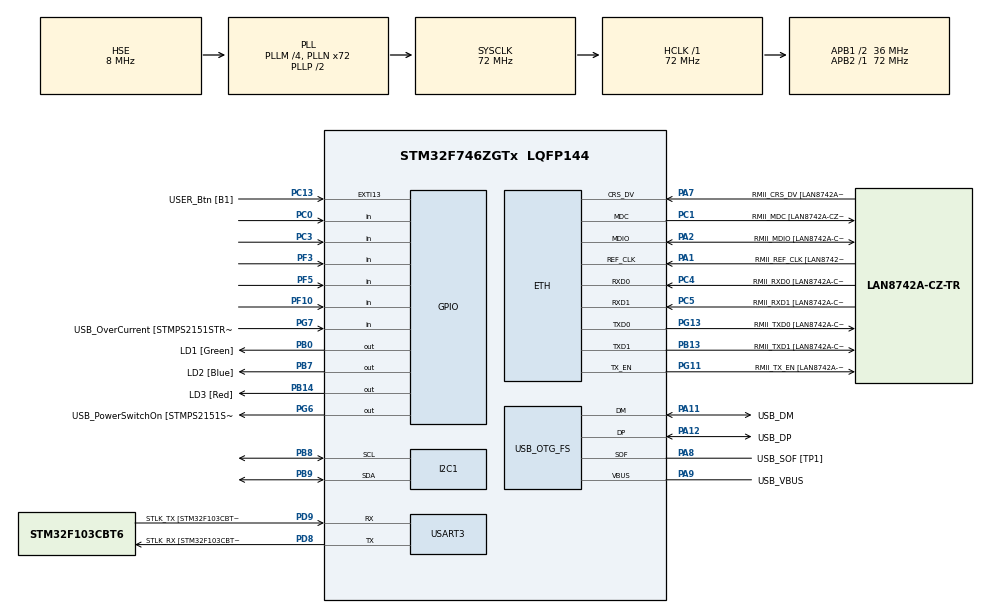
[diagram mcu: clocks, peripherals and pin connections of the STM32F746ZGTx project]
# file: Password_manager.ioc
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ETH.MediaInterface=HAL_ETH_RMII_MODE
ETH.PHY_Name=LAN8742A_PHY_ADDRESS
ETH.PHY_Value=0
ETH.PhyAddress=0
I2C1.Timing=0x00808CD2
Mcu.Family=STM32F7
Mcu.Name=STM32F746ZGTx
Mcu.Package=LQFP144
NVIC.OTG_FS_IRQn=true\:0\:0\:false\:false\:true\:false\:true\:true
NVIC.PriorityGroup=NVIC_PRIORITYGROUP_4
PA1.GPIO_Label=RMII_REF_CLK [LAN8742A-CZ-TR_REFCLK0]
PA1.Mode=RMII
PA1.Signal=ETH_REF_CLK
PA10.GPIO_Label=USB_ID
PA10.Signal=USB_OTG_FS_ID
PA11.GPIO_Label=USB_DM
PA11.Mode=Device_Only
PA11.Signal=USB_OTG_FS_DM
PA12.GPIO_Label=USB_DP
PA12.Mode=Device_Only
PA12.Signal=USB_OTG_FS_DP
PA13.GPIO_Label=TMS
PA13.Mode=Serial_Wire
PA13.Signal=SYS_JTMS-SWDIO
PA14.GPIO_Label=TCK
PA14.Mode=Serial_Wire
PA14.Signal=SYS_JTCK-SWCLK
PA2.GPIO_Label=RMII_MDIO [LAN8742A-CZ-TR_MDIO]
PA2.Mode=RMII
PA2.Signal=ETH_MDIO
PA7.GPIO_Label=RMII_CRS_DV [LAN8742A-CZ-TR_CRS_DV]
PA7.Mode=RMII
PA7.Signal=ETH_CRS_DV
PA8.GPIO_Label=USB_SOF [TP1]
PA8.Mode=Activate_SOF_FS
PA8.Signal=USB_OTG_FS_SOF
PA9.GPIO_Label=USB_VBUS
PA9.Mode=Activate_VBUS
PA9.Signal=USB_OTG_FS_VBUS
PB0.GPIO_Label=LD1 [Green]
PB0.Signal=GPIO_Output
PB13.GPIO_Label=RMII_TXD1 [LAN8742A-CZ-TR_TXD1]
PB13.Mode=RMII
PB13.Signal=ETH_TXD1
PB14.GPIO_Label=LD3 [Red]
PB14.Signal=GPIO_Output
PB3.GPIO_Label=SW0
PB3.Signal=SYS_JTDO-SWO
PB7.GPIO_Label=LD2 [Blue]
PB7.Signal=GPIO_Output
PB8.Mode=I2C
PB8.Signal=I2C1_SCL
PB9.Mode=I2C
PB9.Signal=I2C1_SDA
PC0.GPIO_PuPd=GPIO_PULLUP
PC0.Signal=GPIO_Input
PC1.GPIO_Label=RMII_MDC [LAN8742A-CZ-TR_MDC]
PC1.Mode=RMII
PC1.Signal=ETH_MDC
PC13.GPIO_Label=USER_Btn [B1]
PC13.Signal=GPXTI13
PC14/OSC32_IN.Mode=LSE-External-Oscillator
PC14/OSC32_IN.Signal=RCC_OSC32_IN
PC15/OSC32_OUT.Mode=LSE-External-Oscillator
PC15/OSC32_OUT.Signal=RCC_OSC32_OUT
PC3.GPIO_PuPd=GPIO_PULLUP
PC3.Signal=GPIO_Input
PC4.GPIO_Label=RMII_RXD0 [LAN8742A-CZ-TR_RXD0]
PC4.Mode=RMII
PC4.Signal=ETH_RXD0
PC5.GPIO_Label=RMII_RXD1 [LAN8742A-CZ-TR_RXD1]
PC5.Mode=RMII
PC5.Signal=ETH_RXD1
PD8.GPIO_Label=STLK_RX [STM32F103CBT6_PA3]
PD8.GPIO_PuPd=GPIO_PULLUP
PD8.Mode=Asynchronous
PD8.Signal=USART3_TX
PD9.GPIO_Label=STLK_TX [STM32F103CBT6_PA2]
PD9.GPIO_PuPd=GPIO_PULLUP
PD9.Mode=Asynchronous
PD9.Signal=USART3_RX
PF10.GPIO_PuPd=GPIO_PULLUP
PF10.Signal=GPIO_Input
PF3.GPIO_PuPd=GPIO_PULLUP
PF3.Signal=GPIO_Input
PF5.GPIO_PuPd=GPIO_PULLUP
PF5.Signal=GPIO_Input
PG11.GPIO_Label=RMII_TX_EN [LAN8742A-CZ-TR_TXEN]
PG11.Mode=RMII
PG11.Signal=ETH_TX_EN
PG13.GPIO_Label=RMII_TXD0 [LAN8742A-CZ-TR_TXD0]
PG13.Mode=RMII
PG13.Signal=ETH_TXD0
PG6.GPIO_Label=USB_PowerSwitchOn [STMPS2151STR_EN]
PG6.Signal=GPIO_Output
PG7.GPIO_Label=USB_OverCurrent [STMPS2151STR_FAULT]
PG7.Signal=GPIO_Input
PH0/OSC_IN.GPIO_Label=MCO [STM32F103CBT6_PA8]
PH0/OSC_IN.Mode=HSE-External-Clock-Source
PH0/OSC_IN.Signal=RCC_OSC_IN
PH1/OSC_OUT.Mode=HSE-External-Clock-Source
PH1/OSC_OUT.Signal=RCC_OSC_OUT
ProjectManager.HeapSize=0x200
ProjectManager.StackSize=0x400
ProjectManager.TargetToolchain=STM32CubeIDE
RCC.48MHZClocksFreq_Value=24000000
RCC.AHBFreq_Value=72000000
RCC.APB1CLKDivider=RCC_HCLK_DIV2
RCC.APB1Freq_Value=36000000
RCC.APB1TimFreq_Value=72000000
RCC.APB2Freq_Value=72000000
RCC.APB2TimFreq_Value=72000000
RCC.CortexFreq_Value=72000000
RCC.HCLKFreq_Value=72000000
RCC.HSE_VALUE=8000000
RCC.HSI_VALUE=16000000
RCC.PLLM=4
RCC.PLLMUL=RCC_PLL_MUL9
RCC.PLLN=72
RCC.PLLQ=3
RCC.PRESCALERUSB=RCC_USBCLKSOURCE_PLL_DIV1_5
RCC.SYSCLKFreq_VALUE=72000000
RCC.SYSCLKSource=RCC_SYSCLKSOURCE_PLLCLK
RCC.SYSCLKSourceVirtual=RCC_SYSCLKSOURCE_PLLCLK
RCC.USBFreq_Value=48000000
RCC.VCOOutputFreq_Value=144000000
USART3.VirtualMode-Asynchronous=VM_ASYNC
USB_DEVICE.CLASS_NAME_FS=HID
USB_DEVICE.PID_HID_FS=22317
USB_DEVICE.VirtualMode-HID_FS=Hid
USB_DEVICE.VirtualModeFS=Hid_FS
USB_OTG_FS.VirtualMode=Device_Only
VP_USB_DEVICE_VS_USB_DEVICE_HID_FS.Mode=HID_FS
board=NUCLEO-F746ZG

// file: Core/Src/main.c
/* USER CODE BEGIN Header */
/**
  ******************************************************************************
  * @file           : main.c
  * @brief          : Main program body
  ******************************************************************************
  * @attention
  *
  * Copyright (c) 2026 STMicroelectronics.
  * All rights reserved.
  *
  * This software is licensed under terms that can be found in the LICENSE file
  * in the root directory of this software component.
  * If no LICENSE file comes with this software, it is provided AS-IS.
  *
  ******************************************************************************
  */
/* USER CODE END Header */
#include "main.h"
#include "string.h"
#include "usb_device.h"

/* USER CODE BEGIN Includes */
#include "i2c_lcd.h"
#include "usbd_hid.h"
extern USBD_HandleTypeDef hUsbDeviceFS;

#define EEPROM_ADDR 0xA0

#define BTN_UP_PORT     GPIOC
#define BTN_UP_PIN      GPIO_PIN_0

#define BTN_DOWN_PORT   GPIOC
#define BTN_DOWN_PIN    GPIO_PIN_3

#define BTN_OK_PORT     GPIOF
#define BTN_OK_PIN      GPIO_PIN_3

#define BTN_RIGHT_PORT  GPIOF
#define BTN_RIGHT_PIN   GPIO_PIN_5

#define BTN_LEFT_PORT   GPIOF
#define BTN_LEFT_PIN    GPIO_PIN_10
/* USER CODE END Includes */

#if defined ( __ICCARM__ ) /*!< IAR Compiler */
#pragma location=0x2004c000
ETH_DMADescTypeDef  DMARxDscrTab[ETH_RX_DESC_CNT]; /* Ethernet Rx DMA Descriptors */
#pragma location=0x2004c0a0
ETH_DMADescTypeDef  DMATxDscrTab[ETH_TX_DESC_CNT]; /* Ethernet Tx DMA Descriptors */

#elif defined ( __CC_ARM )  /* MDK ARM Compiler */

__attribute__((at(0x2004c000))) ETH_DMADescTypeDef  DMARxDscrTab[ETH_RX_DESC_CNT]; /* Ethernet Rx DMA Descriptors */
__attribute__((at(0x2004c0a0))) ETH_DMADescTypeDef  DMATxDscrTab[ETH_TX_DESC_CNT]; /* Ethernet Tx DMA Descriptors */

#elif defined ( __GNUC__ ) /* GNU Compiler */
ETH_DMADescTypeDef DMARxDscrTab[ETH_RX_DESC_CNT] __attribute__((section(".RxDecripSection"))); /* Ethernet Rx DMA Descriptors */
ETH_DMADescTypeDef DMATxDscrTab[ETH_TX_DESC_CNT] __attribute__((section(".TxDecripSection")));   /* Ethernet Tx DMA Descriptors */

#endif

ETH_TxPacketConfig TxConfig;

ETH_HandleTypeDef heth;

I2C_HandleTypeDef hi2c1;

UART_HandleTypeDef huart3;

void SystemClock_Config(void);
static void MX_GPIO_Init(void);
static void MX_ETH_Init(void);
static void MX_USART3_UART_Init(void);
static void MX_I2C1_Init(void);

/* USER CODE BEGIN 0 */
uint8_t app_state = 0;
char entered_pin[5] = {0};
uint8_t pin_index = 0;
char secret_pin[] = "1111";

char* account_names[] = {"Telegram", "Gmail", "Github", "VK.com", "Mail.ru"};
char* passwords[] = {"Admin123!", "KroliK9", "Uyuo12yuy", "_=1#0)==", "qwerty"};
uint8_t accounts_number = 5;
uint8_t menu_row = 0;
uint8_t menu_index = 0;

typedef struct {
	uint8_t state;
	uint8_t last_tick;
} Button_TypeDef;

Button_TypeDef btn_up = {0, 0};
Button_TypeDef btn_down = {0, 0};
Button_TypeDef btn_left = {0, 0};
Button_TypeDef btn_right = {0, 0};
Button_TypeDef btn_ok = {0, 0};

uint8_t cur_row = 0;
uint8_t cur_col = 0;

// Таблица соответствий ASCII -> USB HID Scancode (US QWERTY)
const uint8_t asciiMap[128] = {
    0x00, 0x00, 0x00, 0x00, 0x00, 0x00, 0x00, 0x00, // 0-7
    0x2A, 0x2B, 0x28, 0x00, 0x00, 0x00, 0x00, 0x00, // 8-15 (Backspace, Tab, Enter)
    0x00, 0x00, 0x00, 0x00, 0x00, 0x00, 0x00, 0x00, // 16-23
    0x00, 0x00, 0x00, 0x00, 0x00, 0x00, 0x00, 0x00, // 24-31
    0x2C,          // 32: Пробел
    0x1E | 0x80,   // 33: ! (Shift + 1)
    0x34 | 0x80,   // 34: " (Shift + ')
    0x20 | 0x80,   // 35: # (Shift + 3)
    0x21 | 0x80,   // 36: $ (Shift + 4)
    0x22 | 0x80,   // 37: % (Shift + 5)
    0x24 | 0x80,   // 38: & (Shift + 7)
    0x34,          // 39: '
    0x26 | 0x80,   // 40: ( (Shift + 9)
    0x27 | 0x80,   // 41: ) (Shift + 0)
    0x25 | 0x80,   // 42: * (Shift + 8)
    0x2E | 0x80,   // 43: + (Shift + =)
    0x36,          // 44: ,
    0x2D,          // 45: -
    0x37,          // 46: .
    0x38,          // 47: /
    0x27, 0x1E, 0x1F, 0x20, 0x21, 0x22, 0x23, 0x24, 0x25, 0x26, // 48-57: Цифры 0-9
    0x33 | 0x80,   // 58: : (Shift + ;)
    0x33,          // 59: ;
    0x36 | 0x80,   // 60: < (Shift + ,)
    0x2E,          // 61: =
    0x37 | 0x80,   // 62: > (Shift + .)
    0x38 | 0x80,   // 63: ? (Shift + /)
    0x1F | 0x80,   // 64: @ (Shift + 2)
    0x04|0x80, 0x05|0x80, 0x06|0x80, 0x07|0x80, 0x08|0x80, 0x09|0x80, 0x0A|0x80, 0x0B|0x80, // 65-72: A-H
    0x0C|0x80, 0x0D|0x80, 0x0E|0x80, 0x0F|0x80, 0x10|0x80, 0x11|0x80, 0x12|0x80, 0x13|0x80, // 73-80: I-P
    0x14|0x80, 0x15|0x80, 0x16|0x80, 0x17|0x80, 0x18|0x80, 0x19|0x80, 0x1A|0x80, 0x1B|0x80, // 81-88: Q-X
    0x1C|0x80, 0x1D|0x80, // 89-90: Y-Z
    0x2F,          // 91: [
    0x31,          // 92: Обратный слэш
    0x30,          // 93: ]
    0x23 | 0x80,   // 94: ^ (Shift + 6)
    0x2D | 0x80,   // 95: _ (Shift + -)
    0x35,          // 96: `
    0x04, 0x05, 0x06, 0x07, 0x08, 0x09, 0x0A, 0x0B, // 97-104: a-h
    0x0C, 0x0D, 0x0E, 0x0F, 0x10, 0x11, 0x12, 0x13, // 105-112: i-p
    0x14, 0x15, 0x16, 0x17, 0x18, 0x19, 0x1A, 0x1B, // 113-120: q-x
    0x1C, 0x1D,    // 121-122: y-z
    0x2F | 0x80,   // 123: {
    0x31 | 0x80,   // 124: |
    0x30 | 0x80,   // 125: }
    0x35 | 0x80,   // 126: ~
    0x00           // 127: DEL
};

void Send_Char(char c) {
	if (c < 0 || c > 127)
		return;

	uint8_t keycode = asciiMap[(uint8_t)c];
	if (keycode == 0)
		return;

	uint8_t report[8] = {0};

	// Если есть флаг Shift
	if (keycode & 0x80) {
		report[0] = 0x2;
		report[2] = keycode & 0x7F;
	}

	else
		report [2] = keycode;

	USBD_HID_SendReport(&hUsbDeviceFS, report, 8);
	HAL_Delay(25);

	uint8_t empty[8] = {0};
	USBD_HID_SendReport(&hUsbDeviceFS, empty, 8);
	HAL_Delay(25);
}

void Send_Str(const char* str) {
	while(*str)
		Send_Char(*str++);
}

void Draw_Menu() {
	lcd_clear();
	lcd_put_cur(0, 0);
	lcd_send_string("Choose password:");

	for (int i = 0; i < 3; i++) {
		int current_account = menu_row + i;

		if (current_account >= accounts_number)
			break;

		lcd_put_cur(i + 1, 0);
		if (current_account == menu_index)
			lcd_send_string("> ");
		else
			lcd_send_string("  ");

		lcd_send_string(account_names[current_account]);
	}
}

void EEPROM_Write(uint16_t mem_address, uint8_t *data, uint16_t length) {
	HAL_I2C_Mem_Write(&hi2c1, EEPROM_ADDR, mem_address, I2C_MEMADD_SIZE_16BIT, data, length, 1000);
	HAL_Delay(5);
}

void EEPROM_Read(uint16_t mem_address, uint8_t *data, uint16_t length) {
	HAL_I2C_Mem_Read(&hi2c1, EEPROM_ADDR, mem_address, I2C_MEMADD_SIZE_16BIT, data, length, 1000);
}
/* USER CODE END 0 */

int main(void)
{

  /* MCU Configuration--------------------------------------------------------*/

  /* Reset of all peripherals, Initializes the Flash interface and the Systick. */
  HAL_Init();

  /* Configure the system clock */
  SystemClock_Config();

  /* Initialize all configured peripherals */
  MX_GPIO_Init();
  MX_ETH_Init();
  MX_USART3_UART_Init();
  MX_USB_DEVICE_Init();
  MX_I2C1_Init();
  /* USER CODE BEGIN 2 */
  HAL_Delay(100);

  lcd_init();
  lcd_put_cur(0, 2);
  lcd_send_string("Password Manager");

  lcd_put_cur(2, 2);
  lcd_send_string("Press OK to enter");
  lcd_put_cur(3, 6);
  lcd_send_string("PIN-code");

  /* USER CODE END 2 */

  /* Infinite loop */
  while (1)
  {

    /* USER CODE BEGIN 3 */
	if (HAL_GPIO_ReadPin(BTN_OK_PORT, BTN_OK_PIN) == GPIO_PIN_RESET) {
		if (app_state == 0) {
			app_state = 1;
			pin_index = 0;
			memset(entered_pin, 0, sizeof(entered_pin));

			lcd_clear();
			lcd_put_cur(0, 6);
			lcd_send_string("1  2  3");
			lcd_put_cur(1, 6);
			lcd_send_string("4  5  6");
			lcd_put_cur(2, 6);
			lcd_send_string("7  8  9");
			lcd_put_cur(3, 9);
			lcd_send_string("0");

			lcd_send_cmd(0x0F);
			cur_row = 0;
			cur_col = 6;
			lcd_put_cur(cur_row, cur_col);

		} else if (app_state == 1) {
			char selected_digit = 0;

		    if (cur_row == 0 && cur_col == 6)  selected_digit = '1';
		    else if (cur_row == 0 && cur_col == 9)  selected_digit = '2';
		    else if (cur_row == 0 && cur_col == 12) selected_digit = '3';
		    else if (cur_row == 1 && cur_col == 6)  selected_digit = '4';
		    else if (cur_row == 1 && cur_col == 9)  selected_digit = '5';
		    else if (cur_row == 1 && cur_col == 12) selected_digit = '6';
		    else if (cur_row == 2 && cur_col == 6)  selected_digit = '7';
		    else if (cur_row == 2 && cur_col == 9)  selected_digit = '8';
		    else if (cur_row == 2 && cur_col == 12) selected_digit = '9';
		    else if (cur_row == 3 && cur_col == 9)  selected_digit = '0';

		    if (selected_digit != 0) {
		    	entered_pin[pin_index] = selected_digit;
		    	lcd_put_cur(3, pin_index);
		    	lcd_send_string("*");
		    	lcd_put_cur(cur_row, cur_col);

		    	pin_index++;

		    	if (pin_index == 4) {
		    		lcd_send_cmd(0x0C);
		    		lcd_clear();

		    		if (strcmp(entered_pin, secret_pin) == 0) {
		    			lcd_put_cur(1, 3);
		    		    lcd_send_string("ACCESS GRANTED");

		    		    HAL_Delay(1000);

		    		    app_state = 2;

		    		    menu_index = 0;
		    		    menu_row = 0;

		    		    Draw_Menu();

		    		} else {
		    			lcd_put_cur(1, 3);
		    		    lcd_send_string("ACCESS DENIED");
		    		    HAL_Delay(2000);

		    		    app_state = 0;
		    		    lcd_clear();

		    		    lcd_put_cur(0, 2);
		    		    lcd_send_string("Password Manager");
		    		    lcd_put_cur(2, 2);
		    		    lcd_send_string("Press OK to enter");
		    		    lcd_put_cur(3, 6);
		    		    lcd_send_string("PIN-code");
		    		}
		    	}
		    }

		} else if (app_state == 2) {
			lcd_clear();
			lcd_put_cur(1, 1);
			lcd_send_string("Sending password..");

			char password_buffer[64] = {0};

			uint16_t address_target = menu_index * 64;
			EEPROM_Read(address_target, (uint8_t*)password_buffer, 64);

			Send_Str(password_buffer);

			memset(password_buffer, 0, sizeof(password_buffer));

			HAL_Delay(1000);

			Draw_Menu();

		}

		HAL_Delay(200);
	}

	else if (HAL_GPIO_ReadPin(BTN_UP_PORT, BTN_UP_PIN) == GPIO_PIN_RESET) {
		if (app_state == 1 && cur_row > 0) {
			cur_row--;
			lcd_put_cur(cur_row, cur_col);
		} else if (app_state == 2) {
			if (menu_index > 0)
				menu_index--;
			if (menu_index < menu_row)
				menu_row--;
			Draw_Menu();
		}

		HAL_Delay(200);

	} else if (HAL_GPIO_ReadPin(BTN_DOWN_PORT, BTN_DOWN_PIN) == GPIO_PIN_RESET) {
		if (app_state == 1 && cur_row < 3) {
			cur_row++;
			if (cur_row == 3)
				cur_col = 9;
			lcd_put_cur(cur_row, cur_col);
		} else if (app_state == 2) {
			if (menu_index < accounts_number - 1)
				menu_index++;
			if (menu_index >= menu_row + 3)
				menu_row++;
			Draw_Menu();
		}

		HAL_Delay(200);

	} else if (HAL_GPIO_ReadPin(BTN_RIGHT_PORT, BTN_RIGHT_PIN) == GPIO_PIN_RESET) {
		if (app_state == 1 && cur_col < 12 && cur_row != 3) {
			cur_col+= 3;
			lcd_put_cur(cur_row, cur_col);
		}

		HAL_Delay(200);

	} else if (HAL_GPIO_ReadPin(BTN_LEFT_PORT, BTN_LEFT_PIN) == GPIO_PIN_RESET) {
		if (app_state == 1 && cur_col > 6 && cur_row != 3) {
			cur_col-= 3;
			lcd_put_cur(cur_row, cur_col);
		}

		HAL_Delay(200);

	}
  }

  /* USER CODE END 3 */
}

void SystemClock_Config(void)
{
  RCC_OscInitTypeDef RCC_OscInitStruct = {0};
  RCC_ClkInitTypeDef RCC_ClkInitStruct = {0};

  /** Configure LSE Drive Capability
  */
  HAL_PWR_EnableBkUpAccess();

  /** Configure the main internal regulator output voltage
  */
  __HAL_RCC_PWR_CLK_ENABLE();
  __HAL_PWR_VOLTAGESCALING_CONFIG(PWR_REGULATOR_VOLTAGE_SCALE3);

  /** Initializes the RCC Oscillators according to the specified parameters
  * in the RCC_OscInitTypeDef structure.
  */
  RCC_OscInitStruct.OscillatorType = RCC_OSCILLATORTYPE_HSE;
  RCC_OscInitStruct.HSEState = RCC_HSE_BYPASS;
  RCC_OscInitStruct.PLL.PLLState = RCC_PLL_ON;
  RCC_OscInitStruct.PLL.PLLSource = RCC_PLLSOURCE_HSE;
  RCC_OscInitStruct.PLL.PLLM = 4;
  RCC_OscInitStruct.PLL.PLLN = 72;
  RCC_OscInitStruct.PLL.PLLP = RCC_PLLP_DIV2;
  RCC_OscInitStruct.PLL.PLLQ = 3;
  if (HAL_RCC_OscConfig(&RCC_OscInitStruct) != HAL_OK)
  {
    Error_Handler();
  }

  /** Initializes the CPU, AHB and APB buses clocks
  */
  RCC_ClkInitStruct.ClockType = RCC_CLOCKTYPE_HCLK|RCC_CLOCKTYPE_SYSCLK
                              |RCC_CLOCKTYPE_PCLK1|RCC_CLOCKTYPE_PCLK2;
  RCC_ClkInitStruct.SYSCLKSource = RCC_SYSCLKSOURCE_PLLCLK;
  RCC_ClkInitStruct.AHBCLKDivider = RCC_SYSCLK_DIV1;
  RCC_ClkInitStruct.APB1CLKDivider = RCC_HCLK_DIV2;
  RCC_ClkInitStruct.APB2CLKDivider = RCC_HCLK_DIV1;

  if (HAL_RCC_ClockConfig(&RCC_ClkInitStruct, FLASH_LATENCY_2) != HAL_OK)
  {
    Error_Handler();
  }
}

static void MX_ETH_Init(void)
{

   static uint8_t MACAddr[6];

  heth.Instance = ETH;
  MACAddr[0] = 0x00;
  MACAddr[1] = 0x80;
  MACAddr[2] = 0xE1;
  MACAddr[3] = 0x00;
  MACAddr[4] = 0x00;
  MACAddr[5] = 0x00;
  heth.Init.MACAddr = &MACAddr[0];
  heth.Init.MediaInterface = HAL_ETH_RMII_MODE;
  heth.Init.TxDesc = DMATxDscrTab;
  heth.Init.RxDesc = DMARxDscrTab;
  heth.Init.RxBuffLen = 1524;

  if (HAL_ETH_Init(&heth) != HAL_OK)
  {
    Error_Handler();
  }

  memset(&TxConfig, 0 , sizeof(ETH_TxPacketConfig));
  TxConfig.Attributes = ETH_TX_PACKETS_FEATURES_CSUM | ETH_TX_PACKETS_FEATURES_CRCPAD;
  TxConfig.ChecksumCtrl = ETH_CHECKSUM_IPHDR_PAYLOAD_INSERT_PHDR_CALC;
  TxConfig.CRCPadCtrl = ETH_CRC_PAD_INSERT;

}

static void MX_I2C1_Init(void)
{

  hi2c1.Instance = I2C1;
  hi2c1.Init.Timing = 0x00808CD2;
  hi2c1.Init.OwnAddress1 = 0;
  hi2c1.Init.AddressingMode = I2C_ADDRESSINGMODE_7BIT;
  hi2c1.Init.DualAddressMode = I2C_DUALADDRESS_DISABLE;
  hi2c1.Init.OwnAddress2 = 0;
  hi2c1.Init.OwnAddress2Masks = I2C_OA2_NOMASK;
  hi2c1.Init.GeneralCallMode = I2C_GENERALCALL_DISABLE;
  hi2c1.Init.NoStretchMode = I2C_NOSTRETCH_DISABLE;
  if (HAL_I2C_Init(&hi2c1) != HAL_OK)
  {
    Error_Handler();
  }

  /** Configure Analogue filter
  */
  if (HAL_I2CEx_ConfigAnalogFilter(&hi2c1, I2C_ANALOGFILTER_ENABLE) != HAL_OK)
  {
    Error_Handler();
  }

  /** Configure Digital filter
  */
  if (HAL_I2CEx_ConfigDigitalFilter(&hi2c1, 0) != HAL_OK)
  {
    Error_Handler();
  }

}

static void MX_USART3_UART_Init(void)
{

  huart3.Instance = USART3;
  huart3.Init.BaudRate = 115200;
  huart3.Init.WordLength = UART_WORDLENGTH_8B;
  huart3.Init.StopBits = UART_STOPBITS_1;
  huart3.Init.Parity = UART_PARITY_NONE;
  huart3.Init.Mode = UART_MODE_TX_RX;
  huart3.Init.HwFlowCtl = UART_HWCONTROL_NONE;
  huart3.Init.OverSampling = UART_OVERSAMPLING_16;
  huart3.Init.OneBitSampling = UART_ONE_BIT_SAMPLE_DISABLE;
  huart3.AdvancedInit.AdvFeatureInit = UART_ADVFEATURE_NO_INIT;
  if (HAL_UART_Init(&huart3) != HAL_OK)
  {
    Error_Handler();
  }

}

static void MX_GPIO_Init(void)
{
  GPIO_InitTypeDef GPIO_InitStruct = {0};

  /* GPIO Ports Clock Enable */
  __HAL_RCC_GPIOC_CLK_ENABLE();
  __HAL_RCC_GPIOF_CLK_ENABLE();
  __HAL_RCC_GPIOH_CLK_ENABLE();
  __HAL_RCC_GPIOA_CLK_ENABLE();
  __HAL_RCC_GPIOB_CLK_ENABLE();
  __HAL_RCC_GPIOD_CLK_ENABLE();
  __HAL_RCC_GPIOG_CLK_ENABLE();

  /*Configure GPIO pin Output Level */
  HAL_GPIO_WritePin(GPIOB, LD1_Pin|LD3_Pin|LD2_Pin, GPIO_PIN_RESET);

  /*Configure GPIO pin Output Level */
  HAL_GPIO_WritePin(USB_PowerSwitchOn_GPIO_Port, USB_PowerSwitchOn_Pin, GPIO_PIN_RESET);

  /*Configure GPIO pin : USER_Btn_Pin */
  GPIO_InitStruct.Pin = USER_Btn_Pin;
  GPIO_InitStruct.Mode = GPIO_MODE_IT_RISING;
  GPIO_InitStruct.Pull = GPIO_NOPULL;
  HAL_GPIO_Init(USER_Btn_GPIO_Port, &GPIO_InitStruct);

  /*Configure GPIO pins : PF3 PF5 PF10 */
  GPIO_InitStruct.Pin = GPIO_PIN_3|GPIO_PIN_5|GPIO_PIN_10;
  GPIO_InitStruct.Mode = GPIO_MODE_INPUT;
  GPIO_InitStruct.Pull = GPIO_PULLUP;
  HAL_GPIO_Init(GPIOF, &GPIO_InitStruct);

  /*Configure GPIO pins : PC0 PC3 */
  GPIO_InitStruct.Pin = GPIO_PIN_0|GPIO_PIN_3;
  GPIO_InitStruct.Mode = GPIO_MODE_INPUT;
  GPIO_InitStruct.Pull = GPIO_PULLUP;
  HAL_GPIO_Init(GPIOC, &GPIO_InitStruct);

  /*Configure GPIO pins : LD1_Pin LD3_Pin LD2_Pin */
  GPIO_InitStruct.Pin = LD1_Pin|LD3_Pin|LD2_Pin;
  GPIO_InitStruct.Mode = GPIO_MODE_OUTPUT_PP;
  GPIO_InitStruct.Pull = GPIO_NOPULL;
  GPIO_InitStruct.Speed = GPIO_SPEED_FREQ_LOW;
  HAL_GPIO_Init(GPIOB, &GPIO_InitStruct);

  /*Configure GPIO pin : USB_PowerSwitchOn_Pin */
  GPIO_InitStruct.Pin = USB_PowerSwitchOn_Pin;
  GPIO_InitStruct.Mode = GPIO_MODE_OUTPUT_PP;
  GPIO_InitStruct.Pull = GPIO_NOPULL;
  GPIO_InitStruct.Speed = GPIO_SPEED_FREQ_LOW;
  HAL_GPIO_Init(USB_PowerSwitchOn_GPIO_Port, &GPIO_InitStruct);

  /*Configure GPIO pin : USB_OverCurrent_Pin */
  GPIO_InitStruct.Pin = USB_OverCurrent_Pin;
  GPIO_InitStruct.Mode = GPIO_MODE_INPUT;
  GPIO_InitStruct.Pull = GPIO_NOPULL;
  HAL_GPIO_Init(USB_OverCurrent_GPIO_Port, &GPIO_InitStruct);

}

void Error_Handler(void)
{
  __disable_irq();
  while (1)
  {
  }
}
